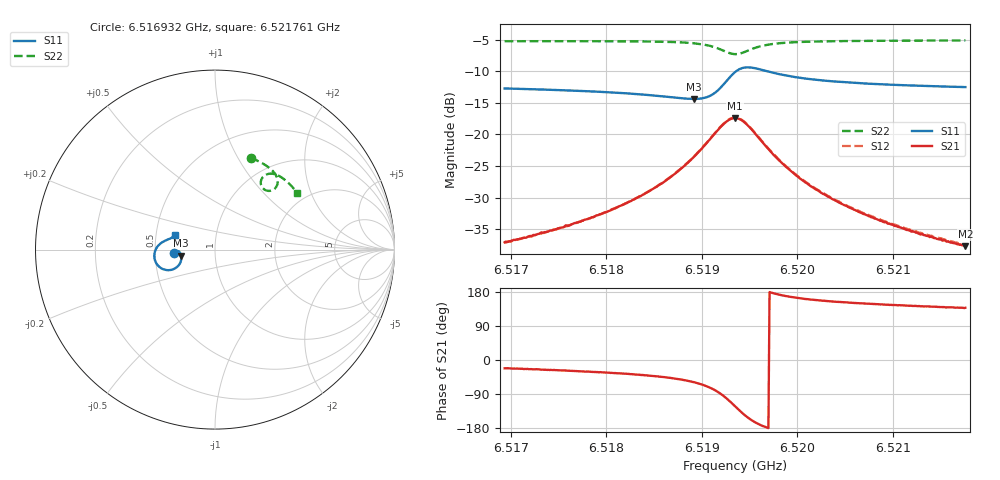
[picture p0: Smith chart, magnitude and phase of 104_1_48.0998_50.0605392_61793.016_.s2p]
#  HZ  S  RI  R  50.00
! Rohde & Schwarz Vector Network Analyzer
! Rohde-Schwarz,ZNB20-2Port,1311601062101988,3.16
! Created: UTC 12/23/2023, 3:45:04 AM
! freq[Hz]  re:S11  im:S11  re:S21  im:S21  re:S12  im:S12  re:S22  im:S22
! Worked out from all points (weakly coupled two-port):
!   401 points, 6.516932 GHz to 6.521761 GHz, reference 50 ohm
!   highest |S21| = -17.39 dB at 6.519347 GHz (marker M1); lowest = -37.7 dB at 6.521761 GHz (marker M2)
!   lowest |S11| = -14.4 dB at 6.518912 GHz (marker M3), VSWR 1.47, Z = 34.1 - j2.39 ohm
!   |S11| at or under -10 dB: start of sweep to 6.519356 GHz; 6.51969 GHz to end of sweep
!   |S22| runs from -7.3 to -5.1 dB; largest |S21 - S12| = 0.0041
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6.5169324e9  -0.2309 -0.0185  0.013 -0.00522  0.013 -0.00475  0.1985 0.5111
6.517367e9  -0.2263 -0.012  0.0151 -0.00731  0.0154 -0.00685  0.2309 0.4978
6.5177412e9  -0.221 -0.00764  0.0179 -0.0103  0.0183 -0.00965  0.2584 0.4839
6.5181396e9  -0.2135 -0.00532  0.0221 -0.0157  0.0225 -0.015  0.2884 0.4658
6.518381e9  -0.2072 -0.0065  0.0257 -0.0213  0.0263 -0.0206  0.3068 0.452
6.51855e9  -0.2018 -0.00956  0.0287 -0.0276  0.0297 -0.0266  0.32 0.4399
6.518719e9  -0.1954 -0.0166  0.0321 -0.037  0.0334 -0.0361  0.3333 0.4247
6.5189122e9  -0.1883 -0.0338  0.0346 -0.0562  0.0367 -0.0556  0.3461 0.3993
6.5190208e9  -0.1875 -0.0519  0.0322 -0.0741  0.0347 -0.0736  0.3494 0.3793
6.5191174e9  -0.1948 -0.0756  0.022 -0.0956  0.0251 -0.0957  0.3448 0.3564
6.5192502e9  -0.2367 -0.111  -0.0208 -0.1236  -0.0174 -0.1251  0.3126 0.3285
6.5193468e9  -0.293 -0.1073  -0.0714 -0.1147  -0.0685 -0.1176  0.274 0.3355
6.5193951e9  -0.3176 -0.089  -0.0911 -0.096  -0.0891 -0.0993  0.2603 0.3513
6.5194554e9  -0.3349 -0.0583  -0.103 -0.0675  -0.1019 -0.0709  0.2549 0.3748
6.519552e9  -0.3354 -0.0134  -0.0989 -0.029  -0.0987 -0.0321  0.2669 0.4042
6.5196606e9  -0.32 0.0176  -0.0822 -0.00504  -0.0827 -0.00749  0.2894 0.4194
6.51989e9  -0.2892 0.0438  -0.0536 0.0111  -0.0544 0.00961  0.3289 0.4212
6.5201556e9  -0.2679 0.054  -0.0359 0.0136  -0.0367 0.0128  0.3594 0.4092
6.5205177e9  -0.2514 0.061  -0.0238 0.0129  -0.0245 0.0122  0.3892 0.3889
6.5209644e9  -0.239 0.0676  -0.0162 0.0112  -0.0167 0.0108  0.4178 0.3626
6.5212783e9  -0.2325 0.072  -0.0129 0.00997  -0.0134 0.00993  0.4355 0.3437
6.5217611e9  -0.2241 0.0786  -0.00964 0.00876  -0.0101 0.00865  0.4591 0.3137
